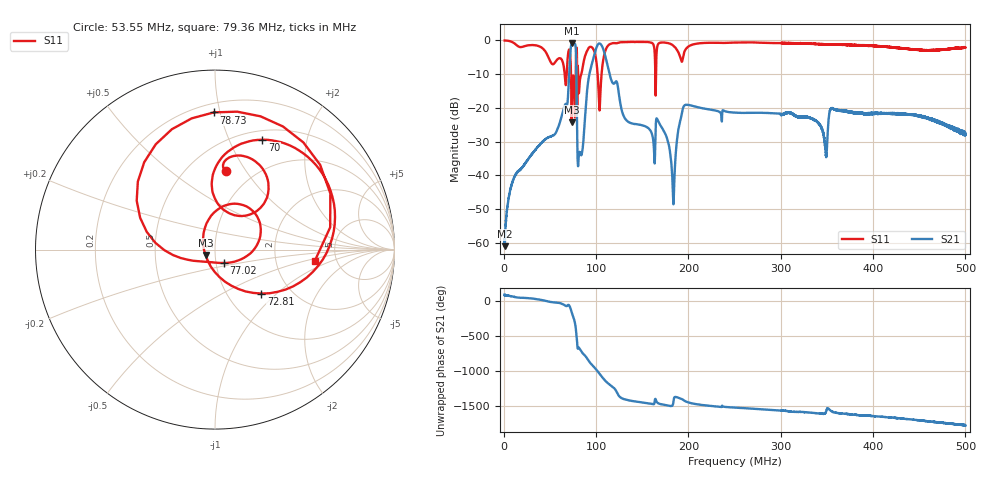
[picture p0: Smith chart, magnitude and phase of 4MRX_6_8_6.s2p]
! NanoVNA-App
! Date: 2026-08-19 15:08:47
! Start: 1MHz Stop: 500MHz Points: 6401
! S-Parameter data: F S11 S21 S12 S22
# Hz S RI R 50
!  Frequency  S11_Real  S11_Imag  S21_Real  S21_Imag  S12_Real  S12_Imag  S22_Real  S22_Imag
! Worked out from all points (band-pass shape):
!   6401 points, 1 MHz to 500 MHz, reference 50 ohm
!   highest |S21| = -0.80 dB at 73.82 MHz (marker M1); lowest = -61.0 dB at 1 MHz (marker M2)
!   |S21| within 3 dB of the highest: 72.21 MHz to 78.24 MHz (6.031 MHz wide, 8.02 % of centre); 98.55 MHz to 109.2 MHz (10.66 MHz wide, 10.3 % of centre)
!   lowest |S11| = -24.3 dB at 73.59 MHz (marker M3), VSWR 1.13, Z = 44.9 - j2.74 ohm
!   |S11| at or under -10 dB: 72.9 MHz to 78.01 MHz (5.105 MHz wide, 6.77 % of centre); 80.64 MHz to 84.04 MHz (3.393 MHz wide, 4.12 % of centre); 101.7 MHz to 106 MHz (4.274 MHz wide, 4.11 % of centre) (the widest 3 of 6)
!   S12 and S22 are empty: the file has one direction only
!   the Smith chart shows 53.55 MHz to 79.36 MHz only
!   S11 on the Smith chart (normalised r, x): 53.55 MHz: 0.75, +0.82; 70 MHz: 0.61, +1.33; 72.81 MHz: 1.43, -0.80; 77.02 MHz: 1.09, -0.16; 78.73 MHz: 0.26, +0.96; 79.36 MHz: 3.40, -0.65
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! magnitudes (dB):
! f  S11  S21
! 1 MHz  0.0  -61.0
! 11.84 MHz  -0.9  -40.5
! 53.55 MHz  -7.1  -28.1
! 70 MHz  -3.5  -14.9
! 72.81 MHz  -9.0  -1.8
! 73.59 MHz  -24.3  -0.8
! 73.82 MHz  -20.7  -0.8
! 77.02 MHz  -21.0  -1.0
! 78.73 MHz  -2.3  -10.8
! 79.36 MHz  -5.1  -23.3
! 84.19 MHz  -9.8  -34.0
! 95.42 MHz  -2.0  -7.0
! 103.3 MHz  -18.7  -0.9
! 112.1 MHz  -1.9  -7.0
! 132.3 MHz  -0.5  -23.5
! 167.4 MHz  -1.0  -24.0
! 183.5 MHz  -1.5  -47.2
! 196.3 MHz  -3.0  -19.2
! 250.5 MHz  -0.6  -21.4
! 333.7 MHz  -1.0  -23.2
! 416.9 MHz  -1.9  -21.8
! 500 MHz  -2.1  -27.9
